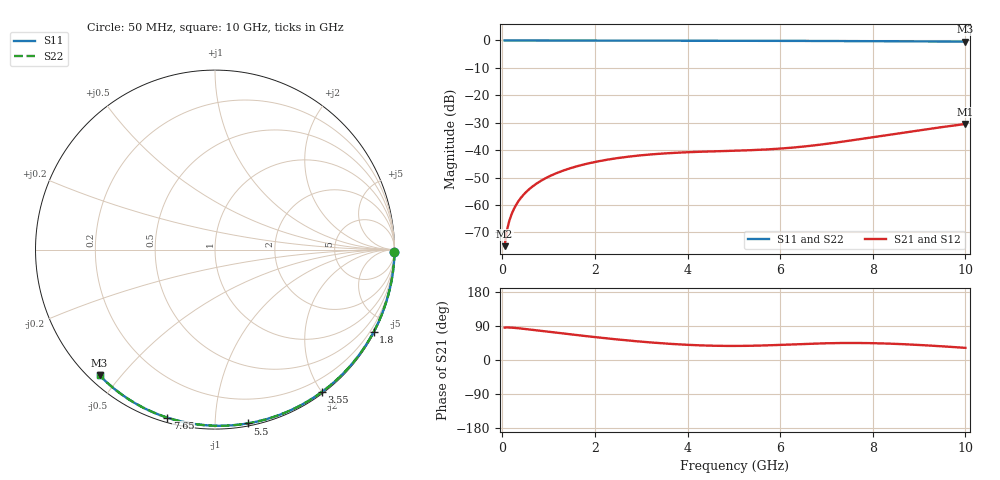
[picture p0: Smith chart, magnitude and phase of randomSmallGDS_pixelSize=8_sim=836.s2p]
! freq	dB(S11)	phase(S11)	dB(S12)	phase(S12)
!  dB(S21)	phase(S21)	dB(S22)	phase(S22)
!S-par simulation data
#  GHz  S  DB  R 50
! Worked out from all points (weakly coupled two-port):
!   200 points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, 50 MHz to 10 GHz, reference 50 ohm
!   highest |S21| = -30.48 dB at 10 GHz (marker M1); lowest = -75.0 dB at 50 MHz (marker M2)
!   lowest |S11| = -0.4 dB at 10 GHz (marker M3), VSWR 39.48, Z = 1.51 - j22 ohm
!   |S11| at or under -10 dB: nowhere
!   |S22| runs from -0.4 to 0.0 dB; largest |S21 - S12| = 0
!   S11 on the Smith chart (normalised r, x): 50 MHz: open; 1.8 GHz: 0.04, -4.08; 3.55 GHz: 0.02, -2.00; 5.5 GHz: 0.02, -1.21; 7.65 GHz: 0.02, -0.76; 10 GHz: 0.03, -0.44
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0.05  -0.00 -0.8  -75.04 85.5  -75.04 85.5  -0.00 -0.8
0.1  -0.00 -1.6  -69.31 85.8  -69.31 85.8  -0.00 -1.6
0.15  -0.00 -2.3  -65.87 85.8  -65.87 85.8  -0.00 -2.3
0.2  -0.00 -3.1  -63.41 85.5  -63.41 85.5  -0.00 -3.1
0.25  -0.00 -3.9  -61.49 85.0  -61.49 85.0  -0.00 -3.9
0.35  -0.00 -5.4  -58.60 83.8  -58.60 83.8  -0.00 -5.4
0.5  -0.01 -7.8  -55.54 81.7  -55.54 81.7  -0.01 -7.8
0.7  -0.01 -10.8  -52.67 78.9  -52.67 78.9  -0.01 -10.8
1  -0.02 -15.4  -49.69 74.5  -49.69 74.5  -0.02 -15.4
1.35  -0.03 -20.8  -47.27 69.4  -47.27 69.4  -0.03 -20.8
1.75  -0.03 -26.8  -45.29 63.8  -45.29 63.8  -0.03 -26.8
1.8  -0.04 -27.5  -45.08 63.1  -45.08 63.1  -0.04 -27.5
2.5  -0.05 -37.9  -42.89 54.1  -42.89 54.1  -0.05 -37.9
3.4  -0.07 -50.9  -41.33 44.5  -41.33 44.5  -0.07 -50.9
3.55  -0.07 -53.0  -41.16 43.2  -41.16 43.2  -0.07 -53.0
4.3  -0.09 -63.4  -40.59 38.5  -40.59 38.5  -0.09 -63.4
5.05  -0.11 -73.5  -40.21 37.1  -40.21 37.1  -0.11 -73.5
5.5  -0.13 -79.3  -39.93 37.9  -39.93 37.9  -0.13 -79.3
6.7  -0.18 -94.4  -38.35 43.1  -38.35 43.1  -0.18 -94.4
7.65  -0.24 -105.8  -36.18 44.9  -36.18 44.9  -0.24 -105.8
8.35  -0.29 -113.9  -34.39 43.2  -34.39 43.2  -0.29 -113.9
10  -0.44 -132.5  -30.48 32.1  -30.48 32.1  -0.44 -132.5
